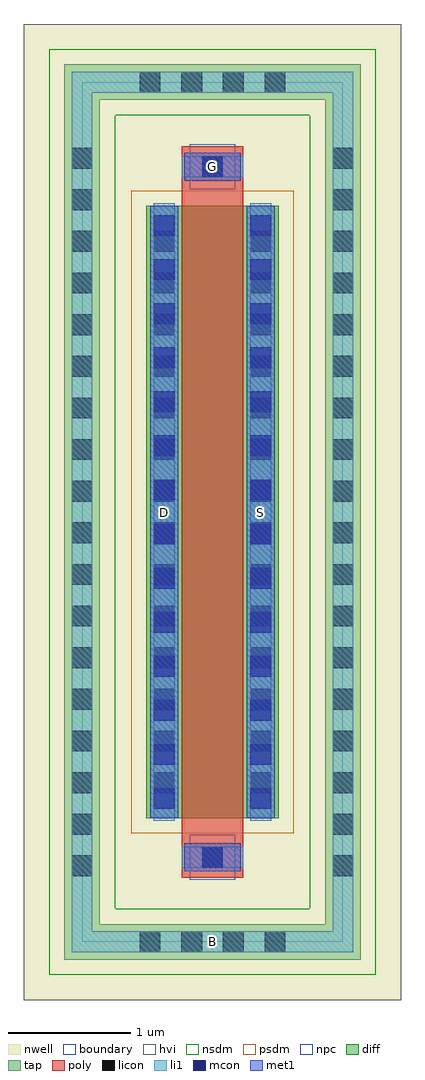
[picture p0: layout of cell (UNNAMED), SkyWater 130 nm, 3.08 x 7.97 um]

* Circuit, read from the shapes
.subckt (UNNAMED) B D G S
XM1 S G D B sky130_fd_pr__pfet_g5v0d10v5 w=5 l=0.5
.ends

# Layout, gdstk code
import gdstk
lib = gdstk.Library(unit=1e-6, precision=1e-09)
def R(c, l, rs):  # rectangles x0, y0, x1, y1
    for r in rs: c.add(gdstk.rectangle(r[:2], r[2:], *l))
def A(c, l, x, y, w, h, nx, ny, dx, dy):  # array of equal rectangles
    R(c, l, [(x+i*dx, y+j*dy, x+i*dx+w, y+j*dy+h) for i in range(nx) for j in range(ny)])
nwell = (64, 20)
diff = (65, 20)
tap = (65, 44)
poly = (66, 20)
licon = (66, 44)
li1 = (67, 20)
mcon = (67, 44)
met1 = (68, 20)
hvi = (75, 20)
nsdm = (93, 44)
psdm = (94, 20)
npc = (95, 20)
boundary = (235, 4)

c__unnamed_ = lib.new_cell('(UNNAMED)')
R(c__unnamed_, nwell, [(-1.54,-3.985,1.54,3.985)])
R(c__unnamed_, diff, [(-0.54,-2.5,0.54,2.5)])
R(c__unnamed_, tap, [(-1.21,-3.655,1.21,-3.365), (-1.21,-3.365,-0.92,3.365), (0.92,-3.365,1.21,3.365), (-1.21,3.365,1.21,3.655)])
R(c__unnamed_, poly, [(-0.25,-2.985,0.25,2.985)])
A(c__unnamed_, licon, -0.595, -3.595, 0.17, 0.17, 4, 2, 0.34, 7.02)
A(c__unnamed_, licon, -1.15, -2.975, 0.17, 0.17, 1, 18, 0, 0.34)
A(c__unnamed_, licon, 0.98, -2.975, 0.17, 0.17, 1, 18, 0, 0.34)
A(c__unnamed_, licon, -0.48, -2.295, 0.17, 0.17, 1, 14, 0, 0.34)
A(c__unnamed_, licon, 0.31, -2.295, 0.17, 0.17, 1, 14, 0, 0.34)
R(c__unnamed_, licon, [(-0.085,-2.905,0.085,-2.735), (-0.085,2.735,0.085,2.905)])
R(c__unnamed_, li1, [(-1.15,-3.595,1.15,-3.425), (-1.15,-3.425,-0.98,3.425), (0.98,-3.425,1.15,3.425), (-0.25,-2.905,0.25,-2.735), (-0.48,-2.52,-0.31,2.52), (0.31,-2.52,0.48,2.52), (-0.25,2.735,0.25,2.905), (-1.15,3.425,1.15,3.595)])
A(c__unnamed_, mcon, -0.48, -2.425, 0.17, 0.17, 1, 14, 0, 0.36)
A(c__unnamed_, mcon, 0.31, -2.425, 0.17, 0.17, 1, 14, 0, 0.36)
R(c__unnamed_, mcon, [(-0.085,-2.905,0.085,-2.735), (-0.085,2.735,0.085,2.905)])
R(c__unnamed_, met1, [(-0.23,-2.935,0.23,-2.705), (-0.51,-2.5,-0.28,2.5), (0.28,-2.5,0.51,2.5), (-0.23,2.705,0.23,2.935)])
R(c__unnamed_, hvi, [(-1.54,-3.985,1.54,3.985)])
R(c__unnamed_, nsdm, [(-1.335,-3.78,1.335,-3.24), (-1.335,-3.24,-0.795,3.24), (0.795,-3.24,1.335,3.24), (-1.335,3.24,1.335,3.78)])
R(c__unnamed_, psdm, [(-0.665,-2.625,0.665,2.625)])
R(c__unnamed_, npc, [(-0.185,-3.005,0.185,-2.635), (-0.185,2.635,0.185,3.005)])
R(c__unnamed_, boundary, [(-1.065,-3.51,1.065,3.51)])
c__unnamed_.add(gdstk.Label('B', (0,-3.51), layer=67, texttype=5))
c__unnamed_.add(gdstk.Label('D', (-0.395,0), layer=67, texttype=5))
c__unnamed_.add(gdstk.Label('S', (0.395,0), layer=67, texttype=5))
c__unnamed_.add(gdstk.Label('G', (0,2.82), layer=67, texttype=5))

lib.write_gds('_UNNAMED_.gds')
